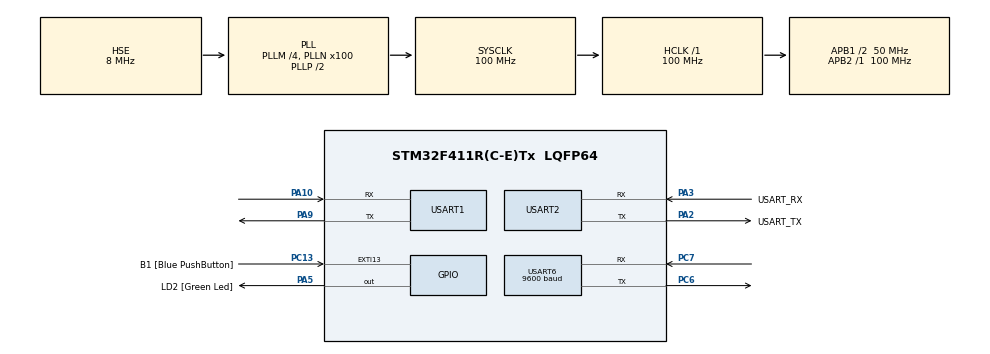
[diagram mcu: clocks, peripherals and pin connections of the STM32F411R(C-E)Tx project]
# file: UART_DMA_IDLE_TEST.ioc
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Dma.Request0=USART2_RX
Dma.Request1=USART2_TX
Dma.Request2=USART1_RX
Dma.Request3=USART1_TX
Dma.Request4=USART6_RX
Dma.Request5=USART6_TX
Dma.USART1_RX.2.Direction=DMA_PERIPH_TO_MEMORY
Dma.USART1_RX.2.FIFOMode=DMA_FIFOMODE_DISABLE
Dma.USART1_RX.2.Instance=DMA2_Stream2
Dma.USART1_RX.2.MemDataAlignment=DMA_MDATAALIGN_BYTE
Dma.USART1_RX.2.MemInc=DMA_MINC_ENABLE
Dma.USART1_RX.2.Mode=DMA_NORMAL
Dma.USART1_RX.2.PeriphDataAlignment=DMA_PDATAALIGN_BYTE
Dma.USART1_RX.2.PeriphInc=DMA_PINC_DISABLE
Dma.USART1_RX.2.Priority=DMA_PRIORITY_LOW
Dma.USART1_TX.3.Direction=DMA_MEMORY_TO_PERIPH
Dma.USART1_TX.3.FIFOMode=DMA_FIFOMODE_DISABLE
Dma.USART1_TX.3.Instance=DMA2_Stream7
Dma.USART1_TX.3.MemDataAlignment=DMA_MDATAALIGN_BYTE
Dma.USART1_TX.3.MemInc=DMA_MINC_ENABLE
Dma.USART1_TX.3.Mode=DMA_NORMAL
Dma.USART1_TX.3.PeriphDataAlignment=DMA_PDATAALIGN_BYTE
Dma.USART1_TX.3.PeriphInc=DMA_PINC_DISABLE
Dma.USART1_TX.3.Priority=DMA_PRIORITY_LOW
Dma.USART2_RX.0.Direction=DMA_PERIPH_TO_MEMORY
Dma.USART2_RX.0.FIFOMode=DMA_FIFOMODE_DISABLE
Dma.USART2_RX.0.Instance=DMA1_Stream5
Dma.USART2_RX.0.MemDataAlignment=DMA_MDATAALIGN_BYTE
Dma.USART2_RX.0.MemInc=DMA_MINC_ENABLE
Dma.USART2_RX.0.Mode=DMA_NORMAL
Dma.USART2_RX.0.PeriphDataAlignment=DMA_PDATAALIGN_BYTE
Dma.USART2_RX.0.PeriphInc=DMA_PINC_DISABLE
Dma.USART2_RX.0.Priority=DMA_PRIORITY_LOW
Dma.USART2_TX.1.Direction=DMA_MEMORY_TO_PERIPH
Dma.USART2_TX.1.FIFOMode=DMA_FIFOMODE_DISABLE
Dma.USART2_TX.1.Instance=DMA1_Stream6
Dma.USART2_TX.1.MemDataAlignment=DMA_MDATAALIGN_BYTE
Dma.USART2_TX.1.MemInc=DMA_MINC_ENABLE
Dma.USART2_TX.1.Mode=DMA_NORMAL
Dma.USART2_TX.1.PeriphDataAlignment=DMA_PDATAALIGN_BYTE
Dma.USART2_TX.1.PeriphInc=DMA_PINC_DISABLE
Dma.USART2_TX.1.Priority=DMA_PRIORITY_LOW
Dma.USART6_RX.4.Direction=DMA_PERIPH_TO_MEMORY
Dma.USART6_RX.4.FIFOMode=DMA_FIFOMODE_DISABLE
Dma.USART6_RX.4.Instance=DMA2_Stream1
Dma.USART6_RX.4.MemDataAlignment=DMA_MDATAALIGN_BYTE
Dma.USART6_RX.4.MemInc=DMA_MINC_ENABLE
Dma.USART6_RX.4.Mode=DMA_NORMAL
Dma.USART6_RX.4.PeriphDataAlignment=DMA_PDATAALIGN_BYTE
Dma.USART6_RX.4.PeriphInc=DMA_PINC_DISABLE
Dma.USART6_RX.4.Priority=DMA_PRIORITY_LOW
Dma.USART6_TX.5.Direction=DMA_MEMORY_TO_PERIPH
Dma.USART6_TX.5.FIFOMode=DMA_FIFOMODE_DISABLE
Dma.USART6_TX.5.Instance=DMA2_Stream6
Dma.USART6_TX.5.MemDataAlignment=DMA_MDATAALIGN_BYTE
Dma.USART6_TX.5.MemInc=DMA_MINC_ENABLE
Dma.USART6_TX.5.Mode=DMA_NORMAL
Dma.USART6_TX.5.PeriphDataAlignment=DMA_PDATAALIGN_BYTE
Dma.USART6_TX.5.PeriphInc=DMA_PINC_DISABLE
Dma.USART6_TX.5.Priority=DMA_PRIORITY_LOW
Mcu.Family=STM32F4
Mcu.Name=STM32F411R(C-E)Tx
Mcu.Package=LQFP64
NVIC.DMA1_Stream5_IRQn=true\:0\:0\:false\:false\:true\:false\:true
NVIC.DMA1_Stream6_IRQn=true\:0\:0\:false\:false\:true\:false\:true
NVIC.DMA2_Stream1_IRQn=true\:0\:0\:false\:false\:true\:false\:true
NVIC.DMA2_Stream2_IRQn=true\:0\:0\:false\:false\:true\:false\:true
NVIC.DMA2_Stream6_IRQn=true\:0\:0\:false\:false\:true\:false\:true
NVIC.DMA2_Stream7_IRQn=true\:0\:0\:false\:false\:true\:false\:true
NVIC.PriorityGroup=NVIC_PRIORITYGROUP_0
NVIC.USART1_IRQn=true\:0\:0\:false\:false\:true\:true\:true
NVIC.USART2_IRQn=true\:0\:0\:false\:false\:true\:true\:true
NVIC.USART6_IRQn=true\:0\:0\:false\:false\:true\:true\:true
PA10.Mode=Asynchronous
PA10.Signal=USART1_RX
PA13.GPIO_Label=TMS
PA13.Mode=Serial_Wire
PA13.Signal=SYS_JTMS-SWDIO
PA14.GPIO_Label=TCK
PA14.Mode=Serial_Wire
PA14.Signal=SYS_JTCK-SWCLK
PA2.GPIO_Label=USART_TX
PA2.Mode=Asynchronous
PA2.Signal=USART2_TX
PA3.GPIO_Label=USART_RX
PA3.Mode=Asynchronous
PA3.Signal=USART2_RX
PA5.GPIO_Label=LD2 [Green Led]
PA5.Signal=GPIO_Output
PA9.Mode=Asynchronous
PA9.Signal=USART1_TX
PB3.GPIO_Label=SWO
PB3.Signal=SYS_JTDO-SWO
PC13-ANTI_TAMP.GPIO_Label=B1 [Blue PushButton]
PC13-ANTI_TAMP.GPIO_ModeDefaultEXTI=GPIO_MODE_IT_FALLING
PC13-ANTI_TAMP.Signal=GPXTI13
PC14-OSC32_IN.Mode=LSE-External-Oscillator
PC14-OSC32_IN.Signal=RCC_OSC32_IN
PC15-OSC32_OUT.Mode=LSE-External-Oscillator
PC15-OSC32_OUT.Signal=RCC_OSC32_OUT
PC6.Mode=Asynchronous
PC6.Signal=USART6_TX
PC7.Mode=Asynchronous
PC7.Signal=USART6_RX
PH0\ -\ OSC_IN.Mode=HSE-External-Clock-Source
PH0\ -\ OSC_IN.Signal=RCC_OSC_IN
PH1\ -\ OSC_OUT.Mode=HSE-External-Clock-Source
PH1\ -\ OSC_OUT.Signal=RCC_OSC_OUT
ProjectManager.HeapSize=0x200
ProjectManager.StackSize=0x400
ProjectManager.TargetToolchain=STM32CubeIDE
RCC.48MHZClocksFreq_Value=50000000
RCC.AHBFreq_Value=100000000
RCC.APB1CLKDivider=RCC_HCLK_DIV2
RCC.APB1Freq_Value=50000000
RCC.APB1TimFreq_Value=100000000
RCC.APB2Freq_Value=100000000
RCC.APB2TimFreq_Value=100000000
RCC.CortexFreq_Value=100000000
RCC.FLatency-AdvancedSettings=FLASH_LATENCY_3
RCC.HCLKFreq_Value=100000000
RCC.HSE_VALUE=8000000
RCC.HSI_VALUE=16000000
RCC.PLLM=4
RCC.PLLN=100
RCC.PLLSourceVirtual=RCC_PLLSOURCE_HSE
RCC.SYSCLKFreq_VALUE=100000000
RCC.SYSCLKSource=RCC_SYSCLKSOURCE_PLLCLK
RCC.VCOOutputFreq_Value=200000000
RTC.Date=2
RTC.Hours=14
RTC.Minutes=10
RTC.Month=RTC_MONTH_MAY
RTC.WeekDay=RTC_WEEKDAY_SUNDAY
USART1.VirtualMode=VM_ASYNC
USART2.VirtualMode=VM_ASYNC
USART6.BaudRate=9600
USART6.VirtualMode=VM_ASYNC
VP_RTC_VS_RTC_Activate.Mode=RTC_Enabled
VP_RTC_VS_RTC_Calendar.Mode=RTC_Calendar
board=NUCLEO-F411RE

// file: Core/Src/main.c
/* USER CODE BEGIN Header */
/**
  ******************************************************************************
  * @file           : main.c
  * @brief          : Main program body
  ******************************************************************************
  * @attention
  *
  * <h2><center>&copy; Copyright (c) 2021 STMicroelectronics.
  * All rights reserved.</center></h2>
  *
  * This software component is licensed by ST under BSD 3-Clause license,
  * the "License"; You may not use this file except in compliance with the
  * License. You may obtain a copy of the License at:
  *                        opensource.org/licenses/BSD-3-Clause
  *
  ******************************************************************************
  */
/* USER CODE END Header */

#include "main.h"
#include "dma.h"
#include "rtc.h"
#include "usart.h"
#include "gpio.h"

/* USER CODE BEGIN Includes */
#include "uart_dma.h"
#include <stdio.h>
#include <stdlib.h>
/* USER CODE END Includes */

/* USER CODE BEGIN PM */
#define pc_write(x) Serial_write(&uart_pc, x)

#define pc_read(x) Serial_read(&uart_pc)

/* USER CODE END PM */

/* USER CODE BEGIN PV */
UART_BufferTypeDef uart_pc;
UART_BufferTypeDef uart_1;
UART_BufferTypeDef uart_6;
uint16_t message_n = 0;
/* USER CODE END PV */

void SystemClock_Config(void);

int main(void)
{

  /* MCU Configuration--------------------------------------------------------*/

  /* Reset of all peripherals, Initializes the Flash interface and the Systick. */
  HAL_Init();

  /* Configure the system clock */
  SystemClock_Config();

  /* Initialize all configured peripherals */
  MX_GPIO_Init();
  MX_DMA_Init();
  MX_USART2_UART_Init();
  MX_RTC_Init();
  MX_USART1_UART_Init();
  MX_USART6_UART_Init();

  /* USER CODE BEGIN 2 */
  Serial_init(&uart_1, &huart1);
  Serial_init(&uart_pc, &huart2);
  Serial_init(&uart_6, &huart6);
  Serial_print(&uart_pc, "System start - uart2\n\r");
  Serial_print(&uart_1, "System start - uart1\n\r");
  Serial_print(&uart_6, "System start - uart6\n\r");
  /* USER CODE END 2 */

  /* Infinite loop */
  /* USER CODE BEGIN WHILE */
  while (1)
  {
	  uint16_t avail = Serial_available(&uart_pc);
	  if(avail) {
		  Serial_print(&uart_pc, "new message no.");
		  message_n++;
		  Serial_print_int(&uart_pc, message_n);
		  Serial_print(&uart_pc, ":");
		  char command[128];
		  Serial_read_line(&uart_pc, command);
		  Serial_print(&uart_pc, command);
		  Serial_println(&uart_pc);
	  }

    /* USER CODE END WHILE */

  }
}

void SystemClock_Config(void)
{
  RCC_OscInitTypeDef RCC_OscInitStruct = {0};
  RCC_ClkInitTypeDef RCC_ClkInitStruct = {0};
  RCC_PeriphCLKInitTypeDef PeriphClkInitStruct = {0};

  /** Configure the main internal regulator output voltage
  */
  __HAL_RCC_PWR_CLK_ENABLE();
  __HAL_PWR_VOLTAGESCALING_CONFIG(PWR_REGULATOR_VOLTAGE_SCALE1);
  /** Initializes the CPU, AHB and APB busses clocks
  */
  RCC_OscInitStruct.OscillatorType = RCC_OSCILLATORTYPE_LSI|RCC_OSCILLATORTYPE_HSE;
  RCC_OscInitStruct.HSEState = RCC_HSE_BYPASS;
  RCC_OscInitStruct.LSIState = RCC_LSI_ON;
  RCC_OscInitStruct.PLL.PLLState = RCC_PLL_ON;
  RCC_OscInitStruct.PLL.PLLSource = RCC_PLLSOURCE_HSE;
  RCC_OscInitStruct.PLL.PLLM = 4;
  RCC_OscInitStruct.PLL.PLLN = 100;
  RCC_OscInitStruct.PLL.PLLP = RCC_PLLP_DIV2;
  RCC_OscInitStruct.PLL.PLLQ = 4;
  if (HAL_RCC_OscConfig(&RCC_OscInitStruct) != HAL_OK)
  {
    Error_Handler();
  }
  /** Initializes the CPU, AHB and APB busses clocks
  */
  RCC_ClkInitStruct.ClockType = RCC_CLOCKTYPE_HCLK|RCC_CLOCKTYPE_SYSCLK
                              |RCC_CLOCKTYPE_PCLK1|RCC_CLOCKTYPE_PCLK2;
  RCC_ClkInitStruct.SYSCLKSource = RCC_SYSCLKSOURCE_PLLCLK;
  RCC_ClkInitStruct.AHBCLKDivider = RCC_SYSCLK_DIV1;
  RCC_ClkInitStruct.APB1CLKDivider = RCC_HCLK_DIV2;
  RCC_ClkInitStruct.APB2CLKDivider = RCC_HCLK_DIV1;

  if (HAL_RCC_ClockConfig(&RCC_ClkInitStruct, FLASH_LATENCY_3) != HAL_OK)
  {
    Error_Handler();
  }
  PeriphClkInitStruct.PeriphClockSelection = RCC_PERIPHCLK_RTC;
  PeriphClkInitStruct.RTCClockSelection = RCC_RTCCLKSOURCE_LSI;
  if (HAL_RCCEx_PeriphCLKConfig(&PeriphClkInitStruct) != HAL_OK)
  {
    Error_Handler();
  }
}

void Error_Handler(void)
{
}

/************************ (C) COPYRIGHT STMicroelectronics *****END OF FILE****/
